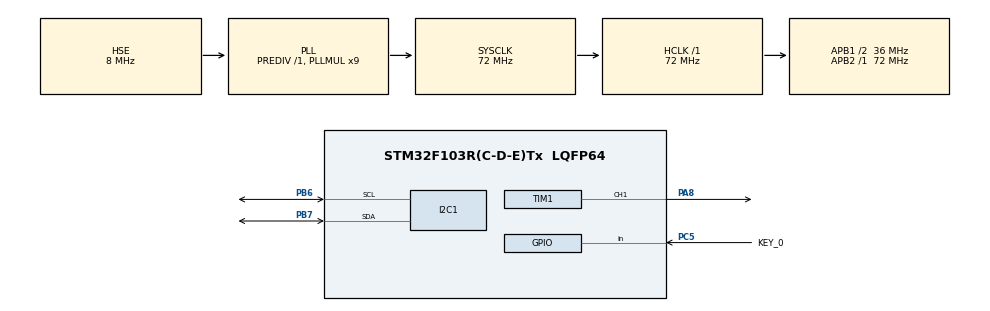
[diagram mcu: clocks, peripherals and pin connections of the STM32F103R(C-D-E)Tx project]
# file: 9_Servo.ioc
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FREERTOS.Tasks01=Servo_task,24,256,Servo_Entry,Default,NULL,Dynamic,NULL,NULL
I2C1.I2C_Mode=I2C_Fast
Mcu.Family=STM32F1
Mcu.Name=STM32F103R(C-D-E)Tx
Mcu.Package=LQFP64
NVIC.PriorityGroup=NVIC_PRIORITYGROUP_4
NVIC.TIM7_IRQn=true\:15\:0\:false\:false\:true\:false\:false\:true\:true
NVIC.TimeBase=TIM7_IRQn
NVIC.TimeBaseIP=TIM7
PA13.Mode=Serial_Wire
PA13.Signal=SYS_JTMS-SWDIO
PA14.Mode=Serial_Wire
PA14.Signal=SYS_JTCK-SWCLK
PA8.Signal=S_TIM1_CH1
PB6.Mode=I2C
PB6.Signal=I2C1_SCL
PB7.Mode=I2C
PB7.Signal=I2C1_SDA
PC14-OSC32_IN.Mode=LSE-External-Oscillator
PC14-OSC32_IN.Signal=RCC_OSC32_IN
PC15-OSC32_OUT.Mode=LSE-External-Oscillator
PC15-OSC32_OUT.Signal=RCC_OSC32_OUT
PC5.GPIO_Label=KEY_0
PC5.GPIO_PuPd=GPIO_PULLUP
PC5.Signal=GPIO_Input
PD0-OSC_IN.Mode=HSE-External-Oscillator
PD0-OSC_IN.Signal=RCC_OSC_IN
PD1-OSC_OUT.Mode=HSE-External-Oscillator
PD1-OSC_OUT.Signal=RCC_OSC_OUT
ProjectManager.HeapSize=0x200
ProjectManager.StackSize=0x400
ProjectManager.TargetToolchain=MDK-ARM V5.32
RCC.AHBFreq_Value=72000000
RCC.APB1CLKDivider=RCC_HCLK_DIV2
RCC.APB1Freq_Value=36000000
RCC.APB1TimFreq_Value=72000000
RCC.APB2Freq_Value=72000000
RCC.APB2TimFreq_Value=72000000
RCC.HCLKFreq_Value=72000000
RCC.PLLMUL=RCC_PLL_MUL9
RCC.PLLSourceVirtual=RCC_PLLSOURCE_HSE
RCC.SYSCLKFreq_VALUE=72000000
RCC.SYSCLKSource=RCC_SYSCLKSOURCE_PLLCLK
RCC.USBFreq_Value=72000000
SH.S_TIM1_CH1.0=TIM1_CH1,PWM Generation1 CH1
TIM1.AutoReloadPreload=TIM_AUTORELOAD_PRELOAD_ENABLE
TIM1.Channel-PWM\ Generation1\ CH1=TIM_CHANNEL_1
TIM1.Period=20000-1
TIM1.Prescaler=72-1
VP_FREERTOS_VS_CMSIS_V2.Mode=CMSIS_V2
VP_SYS_VS_tim7.Mode=TIM7
board=custom

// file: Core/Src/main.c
/* USER CODE BEGIN Header */
/**
  ******************************************************************************
  * @file           : main.c
  * @brief          : Main program body
  ******************************************************************************
  * @attention
  *
  * Copyright (c) 2024 STMicroelectronics.
  * All rights reserved.
  *
  * This software is licensed under terms that can be found in the LICENSE file
  * in the root directory of this software component.
  * If no LICENSE file comes with this software, it is provided AS-IS.
  *
  ******************************************************************************
  */
/* USER CODE END Header */
#include "main.h"
#include "cmsis_os.h"
#include "i2c.h"
#include "tim.h"
#include "gpio.h"

void SystemClock_Config(void);
void MX_FREERTOS_Init(void);

int main(void)
{

  /* MCU Configuration--------------------------------------------------------*/

  /* Reset of all peripherals, Initializes the Flash interface and the Systick. */
  HAL_Init();

  /* Configure the system clock */
  SystemClock_Config();

  /* Initialize all configured peripherals */
  MX_GPIO_Init();
  MX_I2C1_Init();
  MX_TIM1_Init();

  /* Init scheduler */
  osKernelInitialize();

  /* Call init function for freertos objects (in freertos.c) */
  MX_FREERTOS_Init();

  /* Start scheduler */
  osKernelStart();

  /* We should never get here as control is now taken by the scheduler */
  /* Infinite loop */
  while (1)
  {

  }
}

void SystemClock_Config(void)
{
  RCC_OscInitTypeDef RCC_OscInitStruct = {0};
  RCC_ClkInitTypeDef RCC_ClkInitStruct = {0};

  /** Initializes the RCC Oscillators according to the specified parameters
  * in the RCC_OscInitTypeDef structure.
  */
  RCC_OscInitStruct.OscillatorType = RCC_OSCILLATORTYPE_HSE;
  RCC_OscInitStruct.HSEState = RCC_HSE_ON;
  RCC_OscInitStruct.HSEPredivValue = RCC_HSE_PREDIV_DIV1;
  RCC_OscInitStruct.HSIState = RCC_HSI_ON;
  RCC_OscInitStruct.PLL.PLLState = RCC_PLL_ON;
  RCC_OscInitStruct.PLL.PLLSource = RCC_PLLSOURCE_HSE;
  RCC_OscInitStruct.PLL.PLLMUL = RCC_PLL_MUL9;
  if (HAL_RCC_OscConfig(&RCC_OscInitStruct) != HAL_OK)
  {
    Error_Handler();
  }

  /** Initializes the CPU, AHB and APB buses clocks
  */
  RCC_ClkInitStruct.ClockType = RCC_CLOCKTYPE_HCLK|RCC_CLOCKTYPE_SYSCLK
                              |RCC_CLOCKTYPE_PCLK1|RCC_CLOCKTYPE_PCLK2;
  RCC_ClkInitStruct.SYSCLKSource = RCC_SYSCLKSOURCE_PLLCLK;
  RCC_ClkInitStruct.AHBCLKDivider = RCC_SYSCLK_DIV1;
  RCC_ClkInitStruct.APB1CLKDivider = RCC_HCLK_DIV2;
  RCC_ClkInitStruct.APB2CLKDivider = RCC_HCLK_DIV1;

  if (HAL_RCC_ClockConfig(&RCC_ClkInitStruct, FLASH_LATENCY_2) != HAL_OK)
  {
    Error_Handler();
  }
}

void HAL_TIM_PeriodElapsedCallback(TIM_HandleTypeDef *htim)
{
  if (htim->Instance == TIM7) {
    HAL_IncTick();
  }
}

void Error_Handler(void)
{
  __disable_irq();
  while (1)
  {
  }
}

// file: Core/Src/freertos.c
/* USER CODE BEGIN Header */
/**
  ******************************************************************************
  * File Name          : freertos.c
  * Description        : Code for freertos applications
  ******************************************************************************
  * @attention
  *
  * Copyright (c) 2024 STMicroelectronics.
  * All rights reserved.
  *
  * This software is licensed under terms that can be found in the LICENSE file
  * in the root directory of this software component.
  * If no LICENSE file comes with this software, it is provided AS-IS.
  *
  ******************************************************************************
  */
/* USER CODE END Header */

#include "FreeRTOS.h"
#include "task.h"
#include "main.h"
#include "cmsis_os.h"

/* USER CODE BEGIN Includes */
#include "Key.h"
#include "oled.h"
#include "tim.h"
/* USER CODE END Includes */

/* USER CODE BEGIN Variables */
uint8_t Key_Num;
uint16_t Servo_Angle;
uint16_t Servo_Pulse_Set;
uint16_t Servo_Pulse_Get;
/* USER CODE END Variables */
/* Definitions for Servo_task */
osThreadId_t Servo_taskHandle;
const osThreadAttr_t Servo_task_attributes = {
  .name = "Servo_task",
  .stack_size = 256 * 4,
  .priority = (osPriority_t) osPriorityNormal,
};

void Servo_Entry(void *argument);

void MX_FREERTOS_Init(void); /* (MISRA C 2004 rule 8.1) */

void MX_FREERTOS_Init(void) {

  /* Create the thread(s) */
  /* creation of Servo_task */
  Servo_taskHandle = osThreadNew(Servo_Entry, NULL, &Servo_task_attributes);

}

void Servo_Entry(void *argument)
{
  /* USER CODE BEGIN Servo_Entry */
  OLED_Init();
  OLED_Display_On();
  OLED_Clear();
  HAL_TIM_PWM_Start(&htim1, TIM_CHANNEL_1);

  OLED_ShowString(0,0,"Servo Angle:",12,0);
  OLED_ShowString(0,2,"Pulse Width:",12,0);
  OLED_ShowString(0,4,"Real Pulse",12,0);
  /* Infinite loop */
  for(;;)
  {
    Key_Num = Get_GetNum();
    if(Key_Num == KEY1)
    {
        Servo_Angle += 30;
        if(Servo_Angle > 180)
        {
            Servo_Angle = 0;
        }
        Servo_Pulse_Set = Servo_Angle * 2000 / 180 + 500;
        __HAL_TIM_SET_COMPARE(&htim1, TIM_CHANNEL_1, Servo_Pulse_Set);
    }
    Servo_Pulse_Get = __HAL_TIM_GET_COMPARE(&htim1, TIM_CHANNEL_1);
    OLED_ShowNum(80,0,Servo_Angle,5,12,0);
    OLED_ShowNum(80,2,Servo_Pulse_Set,5,12,0);
    OLED_ShowNum(80,4,Servo_Pulse_Get,5,12,0);
    osDelay(1);
  }
  /* USER CODE END Servo_Entry */
}
